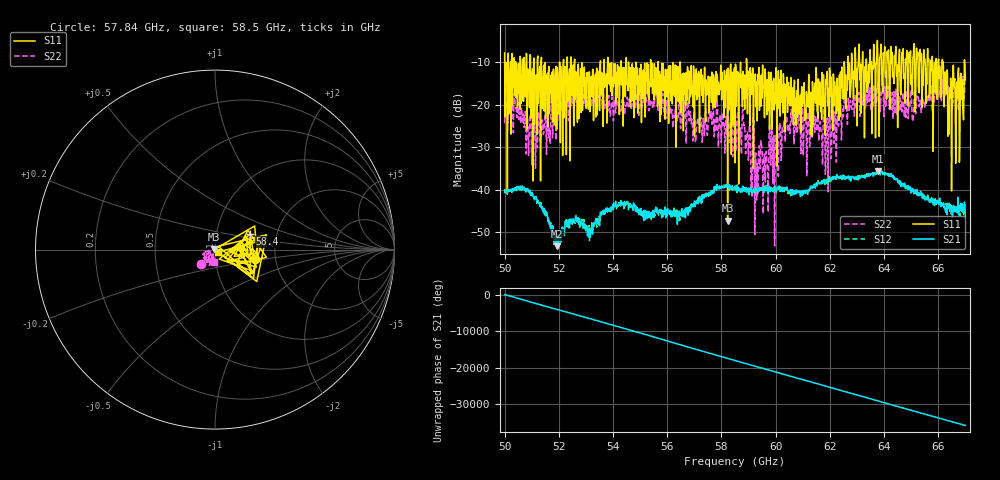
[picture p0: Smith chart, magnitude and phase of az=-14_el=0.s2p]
!Created with skrf (http://scikit-rf.org).
# GHz S RI R 50.0
!freq ReS11 ImS11 ReS21 ImS21 ReS12 ImS12 ReS22 ImS22
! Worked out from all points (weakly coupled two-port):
!   1001 points, 50 GHz to 67 GHz, reference 50 ohm
!   highest |S21| = -35.70 dB at 63.77 GHz (marker M1); lowest = -53.3 dB at 51.92 GHz (marker M2)
!   lowest |S11| = -47.3 dB at 58.23 GHz (marker M3), VSWR 1.01, Z = 49.6 + j0.0829 ohm
!   |S11| at or under -10 dB: 52.59 GHz to 53.53 GHz (947.8 MHz wide, 1.79 % of centre); 56.48 GHz to 58.92 GHz (2.446 GHz wide, 4.24 % of centre); 58.93 GHz to 62.53 GHz (3.599 GHz wide, 5.93 % of centre) (the widest 3 of 63)
!   |S22| runs from -53.2 to -13.4 dB; largest |S21 - S12| = 0.0027
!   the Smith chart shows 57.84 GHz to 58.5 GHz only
!   S11 on the Smith chart (normalised r, x): 57.84 GHz: 1.56, -0.18; 58.4 GHz: 1.46, +0.27; 58.5 GHz: 1.03, -0.03
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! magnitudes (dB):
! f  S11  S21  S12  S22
! 50 GHz  -7.9  -40.7  -40.2  -24.4
! 50.15 GHz  -22.2  -40.3  -40.1  -20.6
! 50.94 GHz  -8.3  -40.2  -40.1  -23.4
! 51.92 GHz  -25.8  -53.3  -53.0  -22.6
! 52.84 GHz  -11.5  -48.0  -47.3  -19.8
! 55.68 GHz  -13.4  -45.1  -46.0  -21.3
! 57.84 GHz  -12.8  -38.8  -39.1  -18.9
! 58.23 GHz  -47.3  -38.7  -38.8  -22.7
! 58.4 GHz  -13.4  -39.1  -39.8  -26.0
! 58.5 GHz  -33.7  -39.4  -39.9  -23.4
! 58.86 GHz  -21.1  -40.3  -39.6  -24.7
! 59.32 GHz  -23.9  -39.8  -39.5  -33.9
! 60.64 GHz  -16.0  -40.1  -40.3  -22.4
! 61.34 GHz  -27.5  -39.3  -39.7  -26.7
! 61.88 GHz  -15.1  -38.3  -38.1  -24.0
! 62.55 GHz  -11.3  -37.2  -37.5  -18.4
! 63.77 GHz  -8.9  -35.7  -36.1  -15.9
! 64.18 GHz  -11.6  -36.9  -36.6  -17.5
! 66.1 GHz  -14.6  -44.0  -43.0  -18.5
! 66.44 GHz  -18.4  -44.0  -43.5  -16.2
! 66.86 GHz  -18.8  -45.1  -44.5  -16.5
! 67 GHz  -14.2  -46.4  -45.2  -14.4
